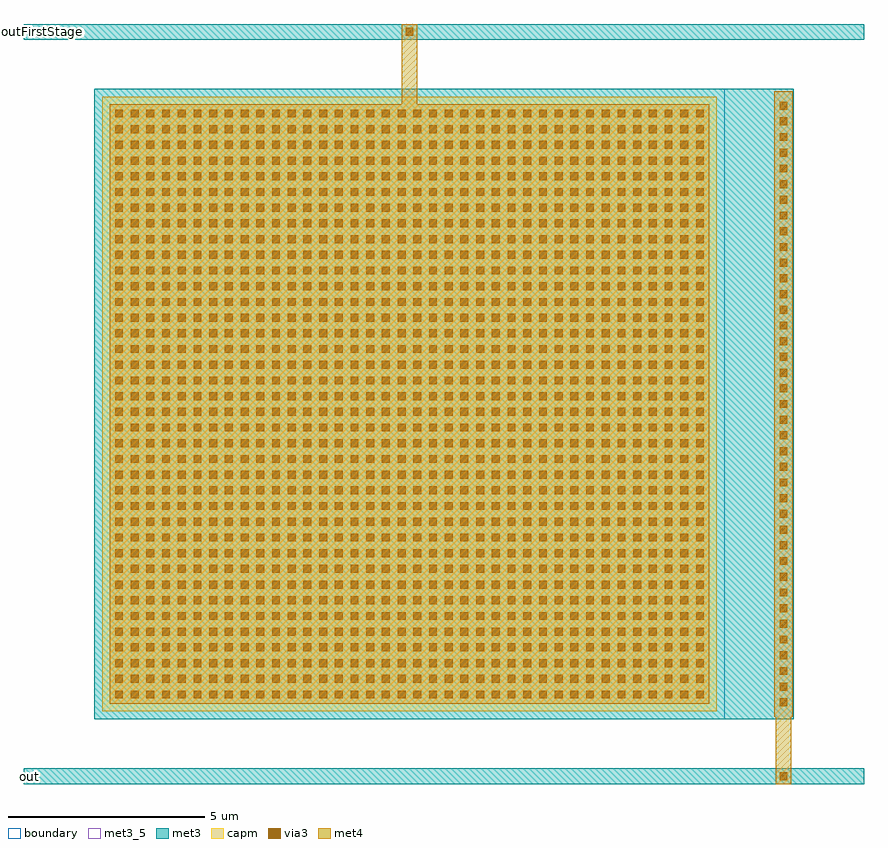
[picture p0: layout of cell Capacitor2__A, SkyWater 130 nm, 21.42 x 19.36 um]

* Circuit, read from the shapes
.subckt Capacitor2__A out outFirstStage
XC1 outFirstStage out sky130_fd_pr__cap_mim_m3_1 w=15.66 l=15.66
.ends

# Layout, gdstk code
import gdstk
lib = gdstk.Library(unit=1e-6, precision=1e-09)
def R(c, l, rs):  # rectangles x0, y0, x1, y1
    for r in rs: c.add(gdstk.rectangle(r[:2], r[2:], *l))
def A(c, l, x, y, w, h, nx, ny, dx, dy):  # array of equal rectangles
    R(c, l, [(x+i*dx, y+j*dy, x+i*dx+w, y+j*dy+h) for i in range(nx) for j in range(ny)])
met3_5 = (70, 5)
met3 = (70, 20)
via3 = (70, 44)
met4 = (71, 20)
capm = (89, 44)
boundary = (235, 4)

sky130_fd_pr__cap_mim_m3 = lib.new_cell('sky130_fd_pr__cap_mim_m3_1_84GA9G')
R(sky130_fd_pr__cap_mim_m3, met3, [(-8.91,-8.03,8.91,8.03)])
A(sky130_fd_pr__cap_mim_m3, via3, 8.55, -7.7, 0.2, 0.2, 1, 39, 0, 0.4)
A(sky130_fd_pr__cap_mim_m3, via3, -8.38, -7.5, 0.2, 0.2, 38, 38, 0.4, 0.4)
R(sky130_fd_pr__cap_mim_m3, met4, [(8.41,-7.97,8.89,7.97), (-8.515,-7.635,6.755,7.635)])
R(sky130_fd_pr__cap_mim_m3, capm, [(-8.71,-7.83,6.95,7.83)])
R(sky130_fd_pr__cap_mim_m3, boundary, [(-8.91,-8.03,7.15,8.03)])
sky130_fd_pr__cap_mim_m3.add(gdstk.Label('C2', (8.65,0), layer=71, texttype=5))
sky130_fd_pr__cap_mim_m3.add(gdstk.Label('C1', (-0.88,0), layer=71, texttype=5))

capacitor2_mim = lib.new_cell('Capacitor2_mim')
capacitor2_mim.add(gdstk.Reference(sky130_fd_pr__cap_mim_m3, (8.91,8.03)))

capacitor2__a = lib.new_cell('Capacitor2__A')
R(capacitor2__a, met3_5, [(-1.7,-1.5,-1.6,-1.4), (-1.7,17.46,-1.6,17.56)])
R(capacitor2__a, met3, [(-1.8,-1.65,19.62,-1.25), (-1.8,17.31,19.62,17.71)])
R(capacitor2__a, via3, [(17.46,-1.55,17.66,-1.35), (7.93,17.41,8.13,17.61)])
R(capacitor2__a, met4, [(17.36,-1.65,17.76,0.26), (7.83,15.465,8.23,17.71)])
capacitor2__a.add(gdstk.Reference(capacitor2_mim, (0,0)))
capacitor2__a.add(gdstk.Label('outFirstStage', (-1.65,17.51), layer=70, texttype=5))
capacitor2__a.add(gdstk.Label('out', (-1.65,-1.45), layer=70, texttype=5))

lib.write_gds('Capacitor2__A.gds')
